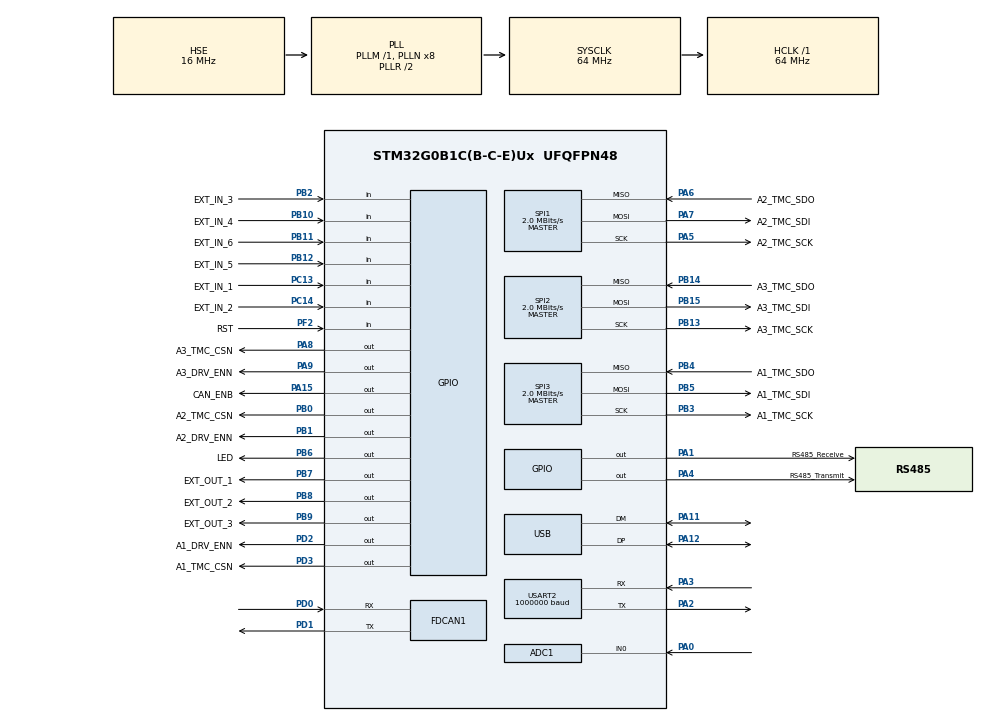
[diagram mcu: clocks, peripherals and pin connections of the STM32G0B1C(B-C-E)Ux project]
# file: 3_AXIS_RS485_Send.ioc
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ADC1.Channel-0\#ChannelRegularConversion=ADC_CHANNEL_0
ADC1.NbrOfConversionFlag=1
ADC1.Rank-0\#ChannelRegularConversion=1
ADC1.SamplingTime-0\#ChannelRegularConversion=ADC_SAMPLINGTIME_COMMON_1
ADC1.SelectedChannel=ADC_CHANNEL_0
ADC1.master=1
FDCAN1.CalculateBaudRateNominal=1000000
FDCAN1.CalculateTimeBitNominal=1000
FDCAN1.CalculateTimeQuantumNominal=62.5
FDCAN1.DataPrescaler=1
FDCAN1.DataTimeSeg1=10
FDCAN1.DataTimeSeg2=2
FDCAN1.FrameFormat=FDCAN_FRAME_FD_BRS
FDCAN1.NominalPrescaler=4
FDCAN1.NominalTimeSeg1=13
FDCAN1.NominalTimeSeg2=2
Mcu.Family=STM32G0
Mcu.Name=STM32G0B1C(B-C-E)Ux
Mcu.Package=UFQFPN48
NVIC.TIM16_FDCAN_IT0_IRQn=true\:0\:0\:false\:false\:true\:true\:true\:true
NVIC.USART2_LPUART2_IRQn=true\:0\:0\:false\:false\:true\:true\:true\:true
NVIC.USB_UCPD1_2_IRQn=true\:0\:0\:false\:false\:true\:true\:true\:true
PA0.Mode=IN0
PA0.Signal=ADC1_IN0
PA1.GPIO_Label=RS485_Receive
PA1.Signal=GPIO_Output
PA11\ [PA9].Mode=Device
PA11\ [PA9].Signal=USB_DM
PA12\ [PA10].Mode=Device
PA12\ [PA10].Signal=USB_DP
PA13.Mode=Serial_Wire
PA13.Signal=SYS_SWDIO
PA14-BOOT0.Mode=Serial_Wire
PA14-BOOT0.Signal=SYS_SWCLK
PA15.GPIO_Label=CAN_ENB
PA15.Signal=GPIO_Output
PA2.Mode=Asynchronous
PA2.Signal=USART2_TX
PA3.Mode=Asynchronous
PA3.Signal=USART2_RX
PA4.GPIO_Label=RS485_Transmit
PA4.Signal=GPIO_Output
PA5.GPIO_Label=A2_TMC_SCK
PA5.GPIO_Speed=GPIO_SPEED_FREQ_HIGH
PA5.Mode=Full_Duplex_Master
PA5.Signal=SPI1_SCK
PA6.GPIO_Label=A2_TMC_SDO
PA6.GPIO_Speed=GPIO_SPEED_FREQ_HIGH
PA6.Mode=Full_Duplex_Master
PA6.Signal=SPI1_MISO
PA7.GPIO_Label=A2_TMC_SDI
PA7.GPIO_Speed=GPIO_SPEED_FREQ_HIGH
PA7.Mode=Full_Duplex_Master
PA7.Signal=SPI1_MOSI
PA8.GPIO_Label=A3_TMC_CSN
PA8.PinState=GPIO_PIN_SET
PA8.Signal=GPIO_Output
PA9.GPIO_Label=A3_DRV_ENN
PA9.GPIO_PuPd=GPIO_PULLUP
PA9.PinState=GPIO_PIN_SET
PA9.Signal=GPIO_Output
PB0.GPIO_Label=A2_TMC_CSN
PB0.PinState=GPIO_PIN_SET
PB0.Signal=GPIO_Output
PB1.GPIO_Label=A2_DRV_ENN
PB1.GPIO_PuPd=GPIO_PULLUP
PB1.PinState=GPIO_PIN_SET
PB1.Signal=GPIO_Output
PB10.GPIO_Label=EXT_IN_4
PB10.GPIO_PuPd=GPIO_PULLDOWN
PB10.Signal=GPIO_Input
PB11.GPIO_Label=EXT_IN_6
PB11.GPIO_PuPd=GPIO_PULLDOWN
PB11.Signal=GPIO_Input
PB12.GPIO_Label=EXT_IN_5
PB12.GPIO_PuPd=GPIO_PULLDOWN
PB12.Signal=GPIO_Input
PB13.GPIO_Label=A3_TMC_SCK
PB13.GPIO_Speed=GPIO_SPEED_FREQ_HIGH
PB13.Mode=Full_Duplex_Master
PB13.Signal=SPI2_SCK
PB14.GPIO_Label=A3_TMC_SDO
PB14.GPIO_Speed=GPIO_SPEED_FREQ_HIGH
PB14.Mode=Full_Duplex_Master
PB14.Signal=SPI2_MISO
PB15.GPIO_Label=A3_TMC_SDI
PB15.GPIO_Speed=GPIO_SPEED_FREQ_HIGH
PB15.Mode=Full_Duplex_Master
PB15.Signal=SPI2_MOSI
PB2.GPIO_Label=EXT_IN_3
PB2.GPIO_PuPd=GPIO_PULLDOWN
PB2.Signal=GPIO_Input
PB3.GPIO_Label=A1_TMC_SCK
PB3.GPIO_Speed=GPIO_SPEED_FREQ_HIGH
PB3.Mode=Full_Duplex_Master
PB3.PinState=GPIO_PIN_RESET
PB3.Signal=SPI3_SCK
PB4.GPIO_Label=A1_TMC_SDO
PB4.GPIO_Speed=GPIO_SPEED_FREQ_HIGH
PB4.Mode=Full_Duplex_Master
PB4.Signal=SPI3_MISO
PB5.GPIO_Label=A1_TMC_SDI
PB5.GPIO_Speed=GPIO_SPEED_FREQ_HIGH
PB5.Mode=Full_Duplex_Master
PB5.Signal=SPI3_MOSI
PB6.GPIO_Label=LED
PB6.GPIO_PuPd=GPIO_NOPULL
PB6.Signal=GPIO_Output
PB7.GPIO_Label=EXT_OUT_1
PB7.GPIO_PuPd=GPIO_PULLDOWN
PB7.Signal=GPIO_Output
PB8.GPIO_Label=EXT_OUT_2
PB8.GPIO_PuPd=GPIO_PULLDOWN
PB8.Signal=GPIO_Output
PB9.GPIO_Label=EXT_OUT_3
PB9.GPIO_PuPd=GPIO_PULLDOWN
PB9.Signal=GPIO_Output
PC13.GPIO_Label=EXT_IN_1
PC13.GPIO_PuPd=GPIO_PULLDOWN
PC13.Signal=GPIO_Input
PC14-OSC32_IN\ (PC14).GPIO_Label=EXT_IN_2
PC14-OSC32_IN\ (PC14).GPIO_PuPd=GPIO_PULLDOWN
PC14-OSC32_IN\ (PC14).Signal=GPIO_Input
PD0.GPIO_Speed=GPIO_SPEED_FREQ_HIGH
PD0.Mode=FDCAN_Activate
PD0.Signal=FDCAN1_RX
PD1.GPIO_Speed=GPIO_SPEED_FREQ_HIGH
PD1.Mode=FDCAN_Activate
PD1.Signal=FDCAN1_TX
PD2.GPIO_Label=A1_DRV_ENN
PD2.GPIO_PuPd=GPIO_PULLUP
PD2.PinState=GPIO_PIN_SET
PD2.Signal=GPIO_Output
PD3.GPIO_Label=A1_TMC_CSN
PD3.PinState=GPIO_PIN_SET
PD3.Signal=GPIO_Output
PF0-OSC_IN\ (PF0).Mode=HSE-External-Oscillator
PF0-OSC_IN\ (PF0).Signal=RCC_OSC_IN
PF1-OSC_OUT\ (PF1).Mode=HSE-External-Oscillator
PF1-OSC_OUT\ (PF1).Signal=RCC_OSC_OUT
PF2-NRST.GPIO_Label=RST
PF2-NRST.Signal=GPIO_Input
ProjectManager.HeapSize=0x200
ProjectManager.StackSize=0x400
ProjectManager.TargetToolchain=STM32CubeIDE
RCC.ADCFreq_Value=64000000
RCC.AHBFreq_Value=64000000
RCC.CortexFreq_Value=64000000
RCC.EXTERNAL_CLOCK_VALUE=48000
RCC.HCLKFreq_Value=64000000
RCC.HSE_VALUE=16000000
RCC.HSI48_VALUE=48000000
RCC.HSI_VALUE=16000000
RCC.LSE_VALUE=32768
RCC.PLLSourceVirtual=RCC_PLLSOURCE_HSE
RCC.SYSCLKFreq_VALUE=64000000
RCC.SYSCLKSource=RCC_SYSCLKSOURCE_PLLCLK
RCC.USBFreq_Value=48000000
RCC.VCOOutputFreq_Value=128000000
SPI1.BaudRatePrescaler=SPI_BAUDRATEPRESCALER_32
SPI1.CLKPhase=SPI_PHASE_1EDGE
SPI1.CalculateBaudRate=2.0 MBits/s
SPI1.DataSize=SPI_DATASIZE_8BIT
SPI1.Direction=SPI_DIRECTION_2LINES
SPI1.Mode=SPI_MODE_MASTER
SPI1.VirtualType=VM_MASTER
SPI2.BaudRatePrescaler=SPI_BAUDRATEPRESCALER_32
SPI2.CLKPhase=SPI_PHASE_1EDGE
SPI2.CalculateBaudRate=2.0 MBits/s
SPI2.DataSize=SPI_DATASIZE_8BIT
SPI2.Direction=SPI_DIRECTION_2LINES
SPI2.Mode=SPI_MODE_MASTER
SPI2.VirtualType=VM_MASTER
SPI3.BaudRatePrescaler=SPI_BAUDRATEPRESCALER_32
SPI3.CLKPhase=SPI_PHASE_1EDGE
SPI3.CalculateBaudRate=2.0 MBits/s
SPI3.DataSize=SPI_DATASIZE_8BIT
SPI3.Direction=SPI_DIRECTION_2LINES
SPI3.Mode=SPI_MODE_MASTER
SPI3.VirtualType=VM_MASTER
USART2.BaudRate=1000000
USART2.VirtualMode-Asynchronous=VM_ASYNC
USB_DEVICE.CLASS_NAME_FS=CDC
USB_DEVICE.VirtualMode=Cdc
USB_DEVICE.VirtualModeFS=Cdc_FS
VP_SYS_VS_DBSignals.Mode=DisableDeadBatterySignals
VP_USB_DEVICE_VS_USB_DEVICE_CDC_FS.Mode=CDC_FS
board=custom

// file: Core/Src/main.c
/* USER CODE BEGIN Header */
/**
  ******************************************************************************
  * @file           : main.c
  * @brief          : Main program body
  ******************************************************************************
  * @attention
  *
  * Copyright (c) 2025 STMicroelectronics.
  * All rights reserved.
  *
  * This software is licensed under terms that can be found in the LICENSE file
  * in the root directory of this software component.
  * If no LICENSE file comes with this software, it is provided AS-IS.
  *
  ******************************************************************************
  * Example: 3_AXIS_RS485_Send
  * Board: 3-AXIS Stepper Driver
  * Purpose: Demonstrates communication using RS485 bus.
  * This code will transmit a "TEST" message, and after listen to incoming RS485
  * bus messages and once RS485RxData[0] == 'O' "OK" has been received, respond back.
  *
  * Baud used: 1Mbps
  */
/* USER CODE END Header */
#include "main.h"
#include "usb_device.h"

ADC_HandleTypeDef hadc1;

FDCAN_HandleTypeDef hfdcan1;

SPI_HandleTypeDef hspi1;
SPI_HandleTypeDef hspi2;
SPI_HandleTypeDef hspi3;

UART_HandleTypeDef huart2;

void SystemClock_Config(void);
static void MX_GPIO_Init(void);
static void MX_ADC1_Init(void);
static void MX_FDCAN1_Init(void);
static void MX_SPI1_Init(void);
static void MX_SPI2_Init(void);
static void MX_SPI3_Init(void);
static void MX_USART2_UART_Init(void);
/* USER CODE BEGIN PFP */
void EnterBootloader(void);
void Delay_Blocking(volatile uint32_t count);
/* USER CODE END PFP */

/* USER CODE BEGIN 0 */

/* RAMP config */
RampConfig Ramp_axis_1;
RampConfig Ramp_axis_2;
RampConfig Ramp_axis_3;

/* Current config */
CurrentConfig Current_axis_1;
CurrentConfig Current_axis_2;
CurrentConfig Current_axis_3;

/* User Settings */
const int ENC_ENB_A1 = 0;  // 0 = disable Encoder , 1 = enable Encoder
const int ENC_ENB_A2 = 0;  // 0 = disable Encoder , 1 = enable Encoder
const int ENC_ENB_A3 = 0;  // 0 = disable Encoder , 1 = enable Encoder
const int ENC_HOME_A1 = 0; // 0 = don't reset ENC counter at Z-event, 1 = reset at Z-event (for homing)
const int ENC_HOME_A2 = 0; // 0 = don't reset ENC counter at Z-event, 1 = reset at Z-event (for homing)
const int ENC_HOME_A3 = 0; // 0 = don't reset ENC counter at Z-event, 1 = reset at Z-event (for homing)
const int STG_ENB_A1 = 0;  // 0 = disable Stallguard, 1 = enable Stallguard
const int STG_ENB_A2 = 0;  // 0 = disable Stallguard, 1 = enable Stallguard
const int STG_ENB_A3 = 0;  // 0 = disable Stallguard, 1 = enable Stallguard
const int32_t ENC_Resolution_A1 =  8000; // Encoder resolution
const int32_t ENC_Resolution_A2 =  8000; // Encoder resolution
const int32_t ENC_Resolution_A3 =  8000; // Encoder resolution

/* CAN VARIABLES */
FDCAN_TxHeaderTypeDef CANTxHeader;
FDCAN_RxHeaderTypeDef CANRxHeader;

uint8_t CANTxData[8];	//CANTX data array
uint8_t CANRxData[8];	//CANRX data array
uint8_t RS485TxData[8];	//RS485 data array
uint8_t RS485RxData[8]; // RS485 data array
int Datacheck;			//value for checking incoming CAN Data

/*  CAN RECEIVE INTERRUPT */
void HAL_FDCAN_RxFifo0Callback(FDCAN_HandleTypeDef *hfdcan, uint32_t RxFifo0ITs)
{
    // Check which interrupt triggered this callback
    if ((RxFifo0ITs & FDCAN_IT_RX_FIFO0_NEW_MESSAGE) != 0)
    {
    	HAL_FDCAN_GetRxMessage(hfdcan, FDCAN_RX_FIFO0, &CANRxHeader, CANRxData);

    	if (CANRxData[0] == 0x01)
		{
			Datacheck = 1;
		}
    }
}

/* RS485 RECEIVE INTERRUPT */
void HAL_UART_RxCpltCallback(UART_HandleTypeDef *huart2)
{
	if(huart2->Instance == USART2)
	{
		if (RS485RxData[0] == 'O')  // Check if the received data matches the condition (e.g., 0x02)
		{
			Datacheck = 1;  // Set the Datacheck flag to indicate new data received
		}
	}
}

/* USER CODE END 0 */

int main(void)
{

  /* MCU Configuration--------------------------------------------------------*/

  /* Reset of all peripherals, Initializes the Flash interface and the Systick. */
  HAL_Init();

  /* Configure the system clock */
  SystemClock_Config();

  /* USER CODE BEGIN SysInit */
  SSM_InitAxisConfig();
  /* USER CODE END SysInit */

  /* Initialize all configured peripherals */
  MX_GPIO_Init();
  MX_ADC1_Init();
  MX_FDCAN1_Init();
  MX_SPI1_Init();
  MX_SPI2_Init();
  MX_SPI3_Init();
  MX_USART2_UART_Init();
  MX_USB_Device_Init();
  /* USER CODE BEGIN 2 */
  TMC5160_Drive_Enable(0, 1); // turn off 1
  TMC5160_Drive_Enable(0, 2); // turn off 2
  TMC5160_Drive_Enable(0, 3); // turn off 3

  RS485TxData[0] = 'T';
  RS485TxData[1] = 'E';
  RS485TxData[2] = 'S';
  RS485TxData[3] = 'T';

  // Enable RS-485 Transmit Mode
  HAL_GPIO_WritePin(RS485_Receive_GPIO_Port, RS485_Receive_Pin, 1);  //1 = send
  HAL_GPIO_WritePin(RS485_Transmit_GPIO_Port, RS485_Transmit_Pin, 1); // 1 = send

  if (HAL_UART_Transmit(&huart2, RS485TxData, 4, HAL_MAX_DELAY) != HAL_OK)
  {
 	 Error_Handler();
  }

  // Disable RS-485 Transmit Mode (back to RX mode)
  HAL_GPIO_WritePin(RS485_Receive_GPIO_Port, RS485_Receive_Pin, 0);  //0 = listen
  HAL_GPIO_WritePin(RS485_Transmit_GPIO_Port, RS485_Transmit_Pin, 0); // 0 = listen

  HAL_UART_Receive_IT(&huart2, RS485RxData, 1); //enable interrupt

  /* USER CODE END 2 */

  /* Infinite loop */
  while (1)
  {

    /* USER CODE BEGIN 3 */
	 HAL_GPIO_WritePin(LED_GPIO_Port, LED_Pin, 1); // turn on LED

	 if(Datacheck == 1)
	 {
		 Datacheck = 0;

		 // Enable RS-485 Transmit Mode
		 HAL_GPIO_WritePin(RS485_Receive_GPIO_Port, RS485_Receive_Pin, 1);  //1 = send
		 HAL_GPIO_WritePin(RS485_Transmit_GPIO_Port, RS485_Transmit_Pin, 1); // 1 = send

		 if (HAL_UART_Transmit(&huart2, RS485TxData, 4, HAL_MAX_DELAY) != HAL_OK)
		 {
			 Error_Handler();
		 }

		 // Disable RS-485 Transmit Mode (back to RX mode)
		 HAL_GPIO_WritePin(RS485_Receive_GPIO_Port, RS485_Receive_Pin, 0);  //0 = listen
		 HAL_GPIO_WritePin(RS485_Transmit_GPIO_Port, RS485_Transmit_Pin, 0); // 0 = listen

		 HAL_UART_Receive_IT(&huart2, RS485RxData, 1); // Restart RX interrupt
	 }

	 HAL_Delay(100);
	 HAL_GPIO_WritePin(LED_GPIO_Port, LED_Pin, 0); // turn off LED
	 HAL_Delay(1000);

	 if (enterBootloaderRequested)
	 {
		 HAL_Delay(200);

		 EnterBootloader();
	 }
  }
  /* USER CODE END 3 */
}

void SystemClock_Config(void)
{
  RCC_OscInitTypeDef RCC_OscInitStruct = {0};
  RCC_ClkInitTypeDef RCC_ClkInitStruct = {0};

  /** Configure the main internal regulator output voltage
  */
  HAL_PWREx_ControlVoltageScaling(PWR_REGULATOR_VOLTAGE_SCALE1);

  /** Initializes the RCC Oscillators according to the specified parameters
  * in the RCC_OscInitTypeDef structure.
  */
  RCC_OscInitStruct.OscillatorType = RCC_OSCILLATORTYPE_HSE|RCC_OSCILLATORTYPE_HSI48;
  RCC_OscInitStruct.HSEState = RCC_HSE_ON;
  RCC_OscInitStruct.HSI48State = RCC_HSI48_ON;
  RCC_OscInitStruct.PLL.PLLState = RCC_PLL_ON;
  RCC_OscInitStruct.PLL.PLLSource = RCC_PLLSOURCE_HSE;
  RCC_OscInitStruct.PLL.PLLM = RCC_PLLM_DIV1;
  RCC_OscInitStruct.PLL.PLLN = 8;
  RCC_OscInitStruct.PLL.PLLP = RCC_PLLP_DIV2;
  RCC_OscInitStruct.PLL.PLLQ = RCC_PLLQ_DIV2;
  RCC_OscInitStruct.PLL.PLLR = RCC_PLLR_DIV2;
  if (HAL_RCC_OscConfig(&RCC_OscInitStruct) != HAL_OK)
  {
    Error_Handler();
  }

  /** Initializes the CPU, AHB and APB buses clocks
  */
  RCC_ClkInitStruct.ClockType = RCC_CLOCKTYPE_HCLK|RCC_CLOCKTYPE_SYSCLK
                              |RCC_CLOCKTYPE_PCLK1;
  RCC_ClkInitStruct.SYSCLKSource = RCC_SYSCLKSOURCE_PLLCLK;
  RCC_ClkInitStruct.AHBCLKDivider = RCC_SYSCLK_DIV1;
  RCC_ClkInitStruct.APB1CLKDivider = RCC_HCLK_DIV1;

  if (HAL_RCC_ClockConfig(&RCC_ClkInitStruct, FLASH_LATENCY_2) != HAL_OK)
  {
    Error_Handler();
  }
}

static void MX_ADC1_Init(void)
{

  ADC_ChannelConfTypeDef sConfig = {0};

  /** Configure the global features of the ADC (Clock, Resolution, Data Alignment and number of conversion)
  */
  hadc1.Instance = ADC1;
  hadc1.Init.ClockPrescaler = ADC_CLOCK_SYNC_PCLK_DIV2;
  hadc1.Init.Resolution = ADC_RESOLUTION_12B;
  hadc1.Init.DataAlign = ADC_DATAALIGN_RIGHT;
  hadc1.Init.ScanConvMode = ADC_SCAN_DISABLE;
  hadc1.Init.EOCSelection = ADC_EOC_SINGLE_CONV;
  hadc1.Init.LowPowerAutoWait = DISABLE;
  hadc1.Init.LowPowerAutoPowerOff = DISABLE;
  hadc1.Init.ContinuousConvMode = DISABLE;
  hadc1.Init.NbrOfConversion = 1;
  hadc1.Init.DiscontinuousConvMode = DISABLE;
  hadc1.Init.ExternalTrigConv = ADC_SOFTWARE_START;
  hadc1.Init.ExternalTrigConvEdge = ADC_EXTERNALTRIGCONVEDGE_NONE;
  hadc1.Init.DMAContinuousRequests = DISABLE;
  hadc1.Init.Overrun = ADC_OVR_DATA_PRESERVED;
  hadc1.Init.SamplingTimeCommon1 = ADC_SAMPLETIME_1CYCLE_5;
  hadc1.Init.SamplingTimeCommon2 = ADC_SAMPLETIME_1CYCLE_5;
  hadc1.Init.OversamplingMode = DISABLE;
  hadc1.Init.TriggerFrequencyMode = ADC_TRIGGER_FREQ_HIGH;
  if (HAL_ADC_Init(&hadc1) != HAL_OK)
  {
    Error_Handler();
  }

  /** Configure Regular Channel
  */
  sConfig.Channel = ADC_CHANNEL_0;
  sConfig.Rank = ADC_REGULAR_RANK_1;
  sConfig.SamplingTime = ADC_SAMPLINGTIME_COMMON_1;
  if (HAL_ADC_ConfigChannel(&hadc1, &sConfig) != HAL_OK)
  {
    Error_Handler();
  }

}

static void MX_FDCAN1_Init(void)
{

  hfdcan1.Instance = FDCAN1;
  hfdcan1.Init.ClockDivider = FDCAN_CLOCK_DIV1;
  hfdcan1.Init.FrameFormat = FDCAN_FRAME_FD_BRS;
  hfdcan1.Init.Mode = FDCAN_MODE_NORMAL;
  hfdcan1.Init.AutoRetransmission = DISABLE;
  hfdcan1.Init.TransmitPause = DISABLE;
  hfdcan1.Init.ProtocolException = DISABLE;
  hfdcan1.Init.NominalPrescaler = 4;
  hfdcan1.Init.NominalSyncJumpWidth = 1;
  hfdcan1.Init.NominalTimeSeg1 = 13;
  hfdcan1.Init.NominalTimeSeg2 = 2;
  hfdcan1.Init.DataPrescaler = 1;
  hfdcan1.Init.DataSyncJumpWidth = 1;
  hfdcan1.Init.DataTimeSeg1 = 10;
  hfdcan1.Init.DataTimeSeg2 = 2;
  hfdcan1.Init.StdFiltersNbr = 0;
  hfdcan1.Init.ExtFiltersNbr = 0;
  hfdcan1.Init.TxFifoQueueMode = FDCAN_TX_FIFO_OPERATION;
  if (HAL_FDCAN_Init(&hfdcan1) != HAL_OK)
  {
    Error_Handler();
  }
  /* USER CODE BEGIN FDCAN1_Init 2 */
  FDCAN_FilterTypeDef sFilter;
  sFilter.IdType = FDCAN_STANDARD_ID;
  sFilter.FilterIndex = 1;
  sFilter.FilterType = FDCAN_FILTER_MASK;
  sFilter.FilterConfig = FDCAN_FILTER_TO_RXFIFO0;
  sFilter.FilterID1 = 0x000;
  sFilter.FilterID2 = 0x000;
  HAL_FDCAN_ConfigFilter(&hfdcan1, &sFilter);
  /* USER CODE END FDCAN1_Init 2 */

}

static void MX_SPI1_Init(void)
{

  /* SPI1 parameter configuration*/
  hspi1.Instance = SPI1;
  hspi1.Init.Mode = SPI_MODE_MASTER;
  hspi1.Init.Direction = SPI_DIRECTION_2LINES;
  hspi1.Init.DataSize = SPI_DATASIZE_8BIT;
  hspi1.Init.CLKPolarity = SPI_POLARITY_LOW;
  hspi1.Init.CLKPhase = SPI_PHASE_1EDGE;
  hspi1.Init.NSS = SPI_NSS_SOFT;
  hspi1.Init.BaudRatePrescaler = SPI_BAUDRATEPRESCALER_32;
  hspi1.Init.FirstBit = SPI_FIRSTBIT_MSB;
  hspi1.Init.TIMode = SPI_TIMODE_DISABLE;
  hspi1.Init.CRCCalculation = SPI_CRCCALCULATION_DISABLE;
  hspi1.Init.CRCPolynomial = 7;
  hspi1.Init.CRCLength = SPI_CRC_LENGTH_DATASIZE;
  hspi1.Init.NSSPMode = SPI_NSS_PULSE_ENABLE;
  if (HAL_SPI_Init(&hspi1) != HAL_OK)
  {
    Error_Handler();
  }

}

static void MX_SPI2_Init(void)
{

  /* SPI2 parameter configuration*/
  hspi2.Instance = SPI2;
  hspi2.Init.Mode = SPI_MODE_MASTER;
  hspi2.Init.Direction = SPI_DIRECTION_2LINES;
  hspi2.Init.DataSize = SPI_DATASIZE_8BIT;
  hspi2.Init.CLKPolarity = SPI_POLARITY_LOW;
  hspi2.Init.CLKPhase = SPI_PHASE_1EDGE;
  hspi2.Init.NSS = SPI_NSS_SOFT;
  hspi2.Init.BaudRatePrescaler = SPI_BAUDRATEPRESCALER_32;
  hspi2.Init.FirstBit = SPI_FIRSTBIT_MSB;
  hspi2.Init.TIMode = SPI_TIMODE_DISABLE;
  hspi2.Init.CRCCalculation = SPI_CRCCALCULATION_DISABLE;
  hspi2.Init.CRCPolynomial = 7;
  hspi2.Init.CRCLength = SPI_CRC_LENGTH_DATASIZE;
  hspi2.Init.NSSPMode = SPI_NSS_PULSE_ENABLE;
  if (HAL_SPI_Init(&hspi2) != HAL_OK)
  {
    Error_Handler();
  }

}

static void MX_SPI3_Init(void)
{

  /* SPI3 parameter configuration*/
  hspi3.Instance = SPI3;
  hspi3.Init.Mode = SPI_MODE_MASTER;
  hspi3.Init.Direction = SPI_DIRECTION_2LINES;
  hspi3.Init.DataSize = SPI_DATASIZE_8BIT;
  hspi3.Init.CLKPolarity = SPI_POLARITY_LOW;
  hspi3.Init.CLKPhase = SPI_PHASE_1EDGE;
  hspi3.Init.NSS = SPI_NSS_SOFT;
  hspi3.Init.BaudRatePrescaler = SPI_BAUDRATEPRESCALER_32;
  hspi3.Init.FirstBit = SPI_FIRSTBIT_MSB;
  hspi3.Init.TIMode = SPI_TIMODE_DISABLE;
  hspi3.Init.CRCCalculation = SPI_CRCCALCULATION_DISABLE;
  hspi3.Init.CRCPolynomial = 7;
  hspi3.Init.CRCLength = SPI_CRC_LENGTH_DATASIZE;
  hspi3.Init.NSSPMode = SPI_NSS_PULSE_ENABLE;
  if (HAL_SPI_Init(&hspi3) != HAL_OK)
  {
    Error_Handler();
  }

}

static void MX_USART2_UART_Init(void)
{

  huart2.Instance = USART2;
  huart2.Init.BaudRate = 1000000;
  huart2.Init.WordLength = UART_WORDLENGTH_8B;
  huart2.Init.StopBits = UART_STOPBITS_1;
  huart2.Init.Parity = UART_PARITY_NONE;
  huart2.Init.Mode = UART_MODE_TX_RX;
  huart2.Init.HwFlowCtl = UART_HWCONTROL_NONE;
  huart2.Init.OverSampling = UART_OVERSAMPLING_16;
  huart2.Init.OneBitSampling = UART_ONE_BIT_SAMPLE_DISABLE;
  huart2.Init.ClockPrescaler = UART_PRESCALER_DIV1;
  huart2.AdvancedInit.AdvFeatureInit = UART_ADVFEATURE_NO_INIT;
  if (HAL_UART_Init(&huart2) != HAL_OK)
  {
    Error_Handler();
  }
  if (HAL_UARTEx_SetTxFifoThreshold(&huart2, UART_TXFIFO_THRESHOLD_1_8) != HAL_OK)
  {
    Error_Handler();
  }
  if (HAL_UARTEx_SetRxFifoThreshold(&huart2, UART_RXFIFO_THRESHOLD_1_8) != HAL_OK)
  {
    Error_Handler();
  }
  if (HAL_UARTEx_DisableFifoMode(&huart2) != HAL_OK)
  {
    Error_Handler();
  }

}

static void MX_GPIO_Init(void)
{
  GPIO_InitTypeDef GPIO_InitStruct = {0};

  /* GPIO Ports Clock Enable */
  __HAL_RCC_GPIOC_CLK_ENABLE();
  __HAL_RCC_GPIOF_CLK_ENABLE();
  __HAL_RCC_GPIOA_CLK_ENABLE();
  __HAL_RCC_GPIOB_CLK_ENABLE();
  __HAL_RCC_GPIOD_CLK_ENABLE();

  /*Configure GPIO pin Output Level */
  HAL_GPIO_WritePin(GPIOA, RS485_Receive_Pin|RS485_Transmit_Pin|CAN_ENB_Pin, GPIO_PIN_RESET);

  /*Configure GPIO pin Output Level */
  HAL_GPIO_WritePin(GPIOB, A2_TMC_CSN_Pin|A2_DRV_ENN_Pin, GPIO_PIN_SET);

  /*Configure GPIO pin Output Level */
  HAL_GPIO_WritePin(GPIOA, A3_TMC_CSN_Pin|A3_DRV_ENN_Pin, GPIO_PIN_SET);

  /*Configure GPIO pin Output Level */
  HAL_GPIO_WritePin(GPIOD, A1_DRV_ENN_Pin|A1_TMC_CSN_Pin, GPIO_PIN_SET);

  /*Configure GPIO pin Output Level */
  HAL_GPIO_WritePin(GPIOB, LED_Pin|EXT_OUT_1_Pin|EXT_OUT_2_Pin|EXT_OUT_3_Pin, GPIO_PIN_RESET);

  /*Configure GPIO pins : EXT_IN_1_Pin EXT_IN_2_Pin */
  GPIO_InitStruct.Pin = EXT_IN_1_Pin|EXT_IN_2_Pin;
  GPIO_InitStruct.Mode = GPIO_MODE_INPUT;
  GPIO_InitStruct.Pull = GPIO_PULLDOWN;
  HAL_GPIO_Init(GPIOC, &GPIO_InitStruct);

  /*Configure GPIO pin : RST_Pin */
  GPIO_InitStruct.Pin = RST_Pin;
  GPIO_InitStruct.Mode = GPIO_MODE_INPUT;
  GPIO_InitStruct.Pull = GPIO_NOPULL;
  HAL_GPIO_Init(RST_GPIO_Port, &GPIO_InitStruct);

  /*Configure GPIO pins : RS485_Receive_Pin RS485_Transmit_Pin A3_TMC_CSN_Pin CAN_ENB_Pin */
  GPIO_InitStruct.Pin = RS485_Receive_Pin|RS485_Transmit_Pin|A3_TMC_CSN_Pin|CAN_ENB_Pin;
  GPIO_InitStruct.Mode = GPIO_MODE_OUTPUT_PP;
  GPIO_InitStruct.Pull = GPIO_NOPULL;
  GPIO_InitStruct.Speed = GPIO_SPEED_FREQ_LOW;
  HAL_GPIO_Init(GPIOA, &GPIO_InitStruct);

  /*Configure GPIO pins : A2_TMC_CSN_Pin LED_Pin */
  GPIO_InitStruct.Pin = A2_TMC_CSN_Pin|LED_Pin;
  GPIO_InitStruct.Mode = GPIO_MODE_OUTPUT_PP;
  GPIO_InitStruct.Pull = GPIO_NOPULL;
  GPIO_InitStruct.Speed = GPIO_SPEED_FREQ_LOW;
  HAL_GPIO_Init(GPIOB, &GPIO_InitStruct);

  /*Configure GPIO pin : A2_DRV_ENN_Pin */
  GPIO_InitStruct.Pin = A2_DRV_ENN_Pin;
  GPIO_InitStruct.Mode = GPIO_MODE_OUTPUT_PP;
  GPIO_InitStruct.Pull = GPIO_PULLUP;
  GPIO_InitStruct.Speed = GPIO_SPEED_FREQ_LOW;
  HAL_GPIO_Init(A2_DRV_ENN_GPIO_Port, &GPIO_InitStruct);

  /*Configure GPIO pins : EXT_IN_3_Pin EXT_IN_4_Pin EXT_IN_6_Pin EXT_IN_5_Pin */
  GPIO_InitStruct.Pin = EXT_IN_3_Pin|EXT_IN_4_Pin|EXT_IN_6_Pin|EXT_IN_5_Pin;
  GPIO_InitStruct.Mode = GPIO_MODE_INPUT;
  GPIO_InitStruct.Pull = GPIO_PULLDOWN;
  HAL_GPIO_Init(GPIOB, &GPIO_InitStruct);

  /*Configure GPIO pin : A3_DRV_ENN_Pin */
  GPIO_InitStruct.Pin = A3_DRV_ENN_Pin;
  GPIO_InitStruct.Mode = GPIO_MODE_OUTPUT_PP;
  GPIO_InitStruct.Pull = GPIO_PULLUP;
  GPIO_InitStruct.Speed = GPIO_SPEED_FREQ_LOW;
  HAL_GPIO_Init(A3_DRV_ENN_GPIO_Port, &GPIO_InitStruct);

  /*Configure GPIO pin : A1_DRV_ENN_Pin */
  GPIO_InitStruct.Pin = A1_DRV_ENN_Pin;
  GPIO_InitStruct.Mode = GPIO_MODE_OUTPUT_PP;
  GPIO_InitStruct.Pull = GPIO_PULLUP;
  GPIO_InitStruct.Speed = GPIO_SPEED_FREQ_LOW;
  HAL_GPIO_Init(A1_DRV_ENN_GPIO_Port, &GPIO_InitStruct);

  /*Configure GPIO pin : A1_TMC_CSN_Pin */
  GPIO_InitStruct.Pin = A1_TMC_CSN_Pin;
  GPIO_InitStruct.Mode = GPIO_MODE_OUTPUT_PP;
  GPIO_InitStruct.Pull = GPIO_NOPULL;
  GPIO_InitStruct.Speed = GPIO_SPEED_FREQ_LOW;
  HAL_GPIO_Init(A1_TMC_CSN_GPIO_Port, &GPIO_InitStruct);

  /*Configure GPIO pins : EXT_OUT_1_Pin EXT_OUT_2_Pin EXT_OUT_3_Pin */
  GPIO_InitStruct.Pin = EXT_OUT_1_Pin|EXT_OUT_2_Pin|EXT_OUT_3_Pin;
  GPIO_InitStruct.Mode = GPIO_MODE_OUTPUT_PP;
  GPIO_InitStruct.Pull = GPIO_PULLDOWN;
  GPIO_InitStruct.Speed = GPIO_SPEED_FREQ_LOW;
  HAL_GPIO_Init(GPIOB, &GPIO_InitStruct);

}

/* USER CODE BEGIN 4 */
void EnterBootloader(void)
{
	  uint32_t bootAddr = SYS_MEM_BOOT_ADDR;
	  boot_func_t bootEntry;

	  // Disable all interrupts
	  __disable_irq();

	  extern USBD_HandleTypeDef hUsbDeviceFS;

	  USBD_Stop(&hUsbDeviceFS);
	  USBD_DeInit(&hUsbDeviceFS);

	  // Disable USB peripheral clock
	  __HAL_RCC_USB_CLK_DISABLE();

	  // Force USB D+ line low
	  __HAL_RCC_GPIOA_CLK_ENABLE();
	  GPIO_InitTypeDef gpio = {0};
	  gpio.Pin = GPIO_PIN_12;
	  gpio.Mode = GPIO_MODE_OUTPUT_PP;
	  gpio.Pull = GPIO_NOPULL;
	  gpio.Speed = GPIO_SPEED_FREQ_LOW;
	  HAL_GPIO_Init(GPIOA, &gpio);
	  HAL_GPIO_WritePin(GPIOA, GPIO_PIN_12, GPIO_PIN_RESET);

      Delay_Blocking(4000000);

	  // Deinitialize HAL / periphs
	  HAL_RCC_DeInit();
	  HAL_DeInit();

	  Delay_Blocking(4000000);

	  // Set stack pointer from system memory vector table
	  __set_MSP(*(uint32_t *)bootAddr);

	  // Read reset vector (entry point) from system memory
	  uint32_t resetVec = *(uint32_t *)(bootAddr + 4);
	  bootEntry = (boot_func_t)resetVec;

	  bootEntry();
}

void Delay_Blocking(volatile uint32_t count)
{
    while (count--) {
        __NOP();
    }
}
/* USER CODE END 4 */

void Error_Handler(void)
{
  /* USER CODE BEGIN Error_Handler_Debug */
  /* User can add his own implementation to report the HAL error return state */

	if (enterBootloaderRequested == 1)
	{
		EnterBootloader();
	}

	__disable_irq();

	while (1)
	{
	}
  /* USER CODE END Error_Handler_Debug */
}
